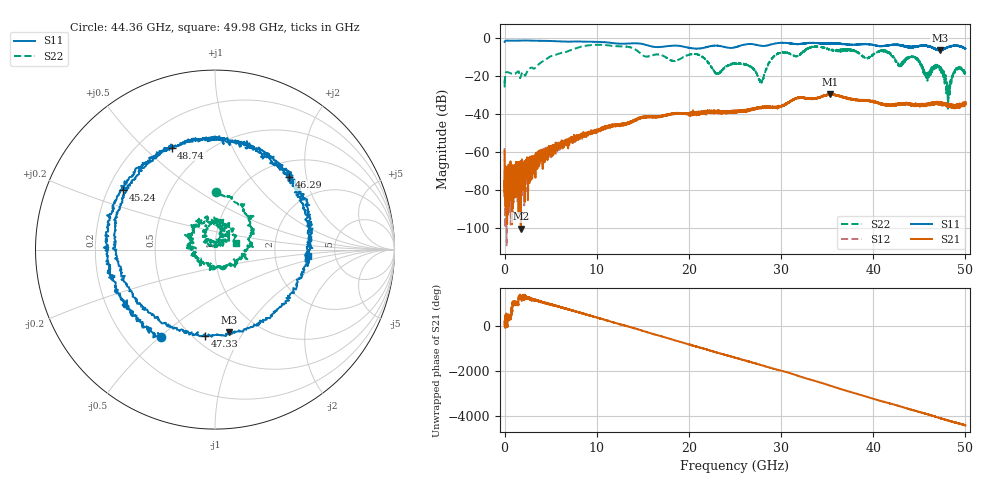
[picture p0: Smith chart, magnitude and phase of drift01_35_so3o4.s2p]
!Created with skrf (http://scikit-rf.org).
# Hz S RI R 50.0
!freq ReS11 ImS11 ReS21 ImS21 ReS12 ImS12 ReS22 ImS22
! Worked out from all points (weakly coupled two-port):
!   10001 points, 300 kHz to 50 GHz, reference 50 ohm
!   highest |S21| = -29.58 dB at 35.35 GHz (marker M1); lowest = -100.5 dB at 1.76 GHz (marker M2)
!   lowest |S11| = -6.6 dB at 47.23 GHz (marker M3), VSWR 2.76, Z = 36.8 - j43.4 ohm
!   |S11| at or under -10 dB: nowhere
!   |S22| runs from -37.3 to -3.6 dB; largest |S21 - S12| = 0.004
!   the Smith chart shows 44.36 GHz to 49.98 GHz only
!   S11 on the Smith chart (normalised r, x): 44.36 GHz: 0.35, -0.50; 45.24 GHz: 0.26, +0.28; 46.29 GHz: 1.31, +1.59; 47.33 GHz: 0.57, -0.72; 48.74 GHz: 0.33, +0.61; 49.98 GHz: 3.13, -0.30
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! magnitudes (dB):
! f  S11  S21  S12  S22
! 300 kHz  -2.1  -59.5  -58.0  -22.0
! 255.3 MHz  -1.4  -70.6  -77.2  -18.0
! 1.76 GHz  -1.4  -100.5  -71.5  -20.3
! 8.335 GHz  -1.9  -51.5  -52.1  -4.5
! 16.67 GHz  -4.8  -41.4  -41.4  -8.7
! 20.97 GHz  -5.7  -39.5  -39.6  -8.8
! 23.07 GHz  -4.1  -38.6  -38.9  -18.8
! 25 GHz  -5.0  -38.8  -38.5  -13.5
! 27.84 GHz  -4.2  -36.6  -36.7  -23.0
! 29.48 GHz  -2.8  -36.3  -36.2  -8.8
! 33.34 GHz  -2.6  -32.3  -32.0  -4.8
! 35.35 GHz  -3.1  -29.6  -30.0  -6.2
! 41.67 GHz  -3.9  -35.6  -35.7  -7.9
! 44.36 GHz  -4.9  -34.9  -35.0  -9.8
! 45.24 GHz  -4.3  -35.6  -35.2  -14.8
! 46.29 GHz  -4.8  -34.7  -34.8  -16.1
! 47.23 GHz  -6.6  -34.5  -34.2  -16.8
! 47.33 GHz  -6.3  -34.4  -34.8  -15.5
! 48.13 GHz  -4.9  -35.7  -35.2  -31.7
! 48.74 GHz  -4.2  -35.7  -35.8  -18.2
! 49.98 GHz  -5.7  -34.7  -34.8  -18.3
! 50 GHz  -5.7  -34.3  -34.6  -18.3
